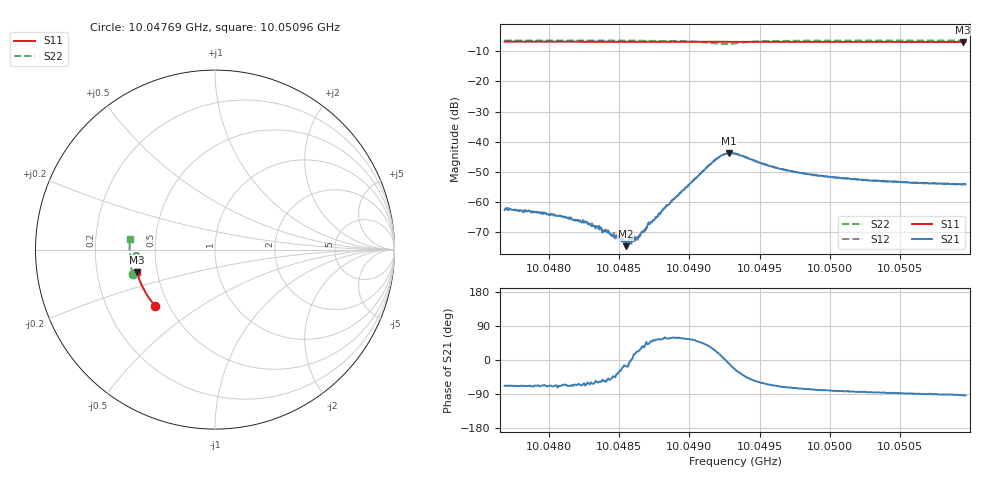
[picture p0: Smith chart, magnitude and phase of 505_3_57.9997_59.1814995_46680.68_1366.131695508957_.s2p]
#  HZ  S  RI  R  50.00
! Rohde & Schwarz Vector Network Analyzer
! Rohde-Schwarz,ZNB20-2Port,1311601062101988,3.16
! Created: UTC 3/21/2024, 1:12:57 AM
! freq[Hz]  re:S11  im:S11  re:S21  im:S21  re:S12  im:S12  re:S22  im:S22
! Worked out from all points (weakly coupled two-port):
!   401 points, 10.04769 GHz to 10.05096 GHz, reference 50 ohm
!   highest |S21| = -43.76 dB at 10.04928 GHz (marker M1); lowest = -74.6 dB at 10.04855 GHz (marker M2)
!   lowest |S11| = -6.9 dB at 10.05095 GHz (marker M3), VSWR 2.65, Z = 19.2 - j6.01 ohm
!   |S11| at or under -10 dB: nowhere
!   |S22| runs from -7.6 to -6.4 dB; largest |S21 - S12| = 0.00047
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1.0047686e10  -0.3353 -0.312  0.000274 -0.000691  0.000334 -0.000697  -0.458 -0.1386
1.0047915e10  -0.3449 -0.3002  0.000259 -0.000644  0.000296 -0.000603  -0.4618 -0.1231
1.0048063e10  -0.3511 -0.2926  0.000179 -0.000567  0.000269 -0.000548  -0.464 -0.1129
1.0048235e10  -0.358 -0.2837  0.000182 -0.000422  0.000246 -0.000423  -0.4663 -0.1007
1.0048358e10  -0.3627 -0.2772  0.000193 -0.000296  0.000225 -0.000338  -0.4675 -0.0917
1.0048546e10  -0.3698 -0.267  0.00018 -5.2e-05  0.000207 -6.19e-05  -0.469 -0.0773
1.0048563e10  -0.3704 -0.2661  0.000219 -7.06e-05  0.000226 -2.06e-05  -0.4693 -0.0757
1.004862e10  -0.3727 -0.2629  0.000229 8.14e-05  0.000246 7.92e-05  -0.4693 -0.0711
1.0048636e10  -0.373 -0.262  0.000251 0.000103  0.000233 0.000117  -0.4693 -0.0697
1.0048718e10  -0.376 -0.2574  0.000302 0.000319  0.000267 0.000349  -0.4692 -0.0624
1.0048784e10  -0.3784 -0.2538  0.00037 0.000523  0.000326 0.000563  -0.4688 -0.0564
1.0048825e10  -0.3798 -0.2516  0.000402 0.000689  0.000412 0.000689  -0.4682 -0.0523
1.0049169e10  -0.391 -0.2318  0.00413 0.0023  0.00398 0.00256  -0.4324 -0.0196
1.0049226e10  -0.3926 -0.2287  0.00579 0.00111  0.00571 0.00148  -0.4182 -0.0296
1.0049283e10  -0.3942 -0.2255  0.00638 -0.00113  0.00647 -0.000774  -0.4158 -0.0486
1.0049324e10  -0.3955 -0.2234  0.00577 -0.00264  0.006 -0.00231  -0.4235 -0.0595
1.0049603e10  -0.4043 -0.2073  0.00146 -0.00348  0.00168 -0.00344  -0.4671 -0.0436
1.0049873e10  -0.4117 -0.1911  0.000613 -0.00278  0.000727 -0.0028  -0.4742 -0.0178
1.0050144e10  -0.4185 -0.1747  0.000264 -0.00241  0.000427 -0.00239  -0.4758 0.00377
1.0050422e10  -0.4247 -0.1576  0.000119 -0.00221  0.000269 -0.0022  -0.4755 0.0242
1.0050946e10  -0.4346 -0.1246  -0.000113 -0.00199  5.45e-05 -0.00199  -0.472 0.0606
1.0050963e10  -0.4349 -0.1238  -0.000121 -0.00196  3.17e-05 -0.00198  -0.4719 0.0618
